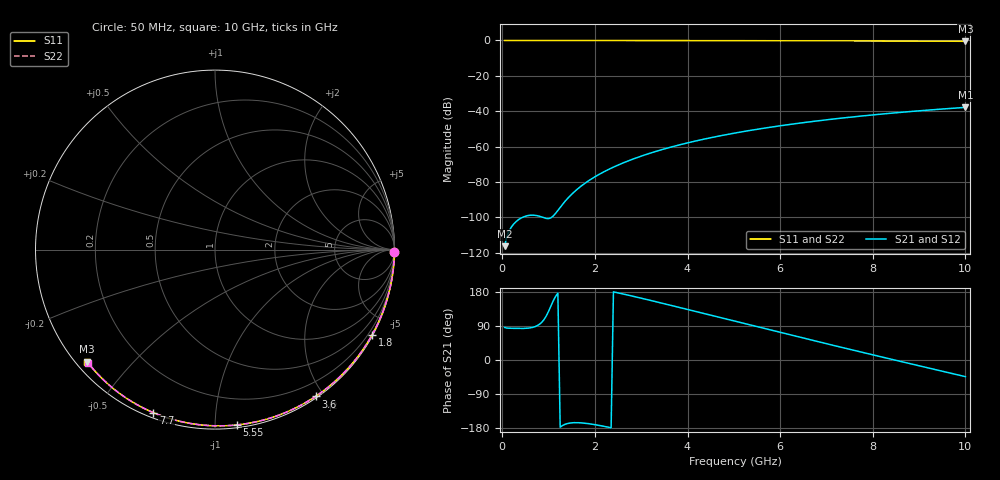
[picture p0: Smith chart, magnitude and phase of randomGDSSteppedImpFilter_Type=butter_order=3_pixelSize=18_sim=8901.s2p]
! freq	dB(S11)	phase(S11)	dB(S12)	phase(S12)
!  dB(S21)	phase(S21)	dB(S22)	phase(S22)
!S-par simulation data
#  GHz  S  DB  R 50
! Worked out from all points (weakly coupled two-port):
!   200 points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, 50 MHz to 10 GHz, reference 50 ohm
!   highest |S21| = -37.85 dB at 10 GHz (marker M1); lowest = -116.4 dB at 50 MHz (marker M2)
!   lowest |S11| = -0.5 dB at 10 GHz (marker M3), VSWR 36.95, Z = 1.54 - j18.8 ohm
!   |S11| at or under -10 dB: nowhere
!   |S22| runs from -0.5 to 0.0 dB; largest |S21 - S12| = 0
!   S11 on the Smith chart (normalised r, x): 50 MHz: open; 1.8 GHz: 0.03, -3.94; 3.6 GHz: 0.02, -1.90; 5.55 GHz: 0.02, -1.13; 7.7 GHz: 0.02, -0.69; 10 GHz: 0.03, -0.38
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0.05  -0.00 -0.8  -116.36 85.9  -116.36 85.9  -0.00 -0.8
0.45  -0.01 -7.2  -99.90 83.3  -99.90 83.3  -0.01 -7.2
0.9  -0.02 -14.4  -100.30 106.5  -100.30 106.5  -0.02 -14.3
1.75  -0.04 -27.7  -81.44 -166.4  -81.44 -166.4  -0.04 -27.6
1.8  -0.04 -28.5  -80.50 -167.1  -80.50 -167.1  -0.04 -28.4
1.85  -0.04 -29.2  -79.60 -167.9  -79.60 -167.9  -0.04 -29.1
2.05  -0.04 -32.3  -76.35 -171.7  -76.35 -171.7  -0.04 -32.2
2.25  -0.05 -35.4  -73.54 -176.3  -73.54 -176.3  -0.05 -35.3
2.55  -0.05 -40.0  -69.91 175.8  -69.91 175.8  -0.05 -39.8
2.95  -0.06 -46.0  -65.88 164.6  -65.88 164.6  -0.06 -45.8
3.4  -0.07 -52.7  -62.10 151.4  -62.10 151.4  -0.07 -52.5
3.6  -0.07 -55.6  -60.62 145.4  -60.62 145.4  -0.07 -55.4
3.9  -0.08 -59.9  -58.57 136.4  -58.57 136.4  -0.08 -59.7
4.3  -0.09 -65.7  -56.13 124.3  -56.13 124.3  -0.09 -65.4
5.05  -0.12 -76.1  -52.25 101.5  -52.25 101.5  -0.12 -75.9
5.55  -0.14 -82.9  -50.04 86.4  -50.04 86.4  -0.14 -82.6
6.1  -0.16 -90.2  -47.89 69.8  -47.89 69.8  -0.16 -89.9
6.7  -0.19 -98.1  -45.83 51.9  -45.83 51.9  -0.19 -97.7
7.7  -0.25 -110.7  -42.89 22.4  -42.89 22.4  -0.25 -110.3
8.35  -0.30 -118.7  -41.26 3.5  -41.26 3.5  -0.30 -118.3
9.2  -0.38 -129.1  -39.38 -21.0  -39.38 -21.0  -0.38 -128.6
10  -0.47 -138.8  -37.85 -43.9  -37.85 -43.9  -0.47 -138.2
